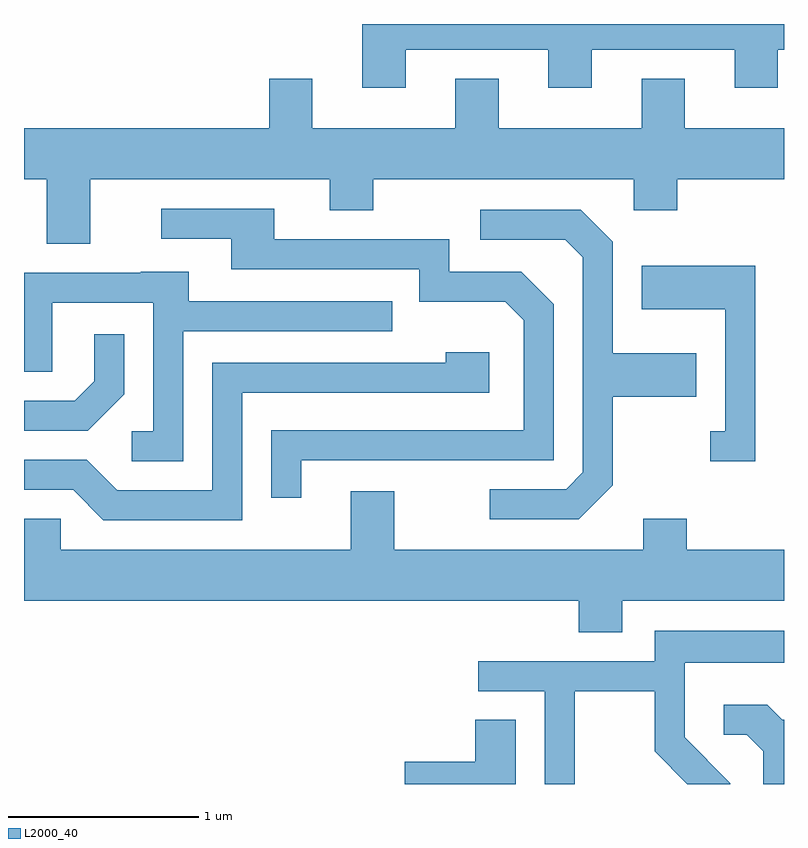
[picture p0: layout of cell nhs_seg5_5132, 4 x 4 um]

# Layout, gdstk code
import gdstk
lib = gdstk.Library(unit=1e-6, precision=1e-09)
def P(c, l, *ps):  # polygons
    for p in ps: c.add(gdstk.Polygon(p, *l))
L2000_40 = (2000, 40)

nhs_seg5_5132 = lib.new_cell('nhs_seg5_5132')
P(nhs_seg5_5132, L2000_40, [(339.619,1441.936),(340.371,1441.936),(340.371,1441.736),(340.599,1441.736),(340.599,1441.936),(341.351,1441.936),(341.351,1441.736),(341.579,1441.736),(341.579,1441.936),(341.611,1441.936),(341.611,1442.072),(339.391,1442.072),(339.391,1441.736),(339.619,1441.736)],
  [(337.959,1441.256),(339.221,1441.256),(339.221,1441.091),(339.449,1441.091),(339.449,1441.256),(340.821,1441.256),(340.821,1441.091),(341.049,1441.091),(341.049,1441.256),(341.611,1441.256),(341.611,1441.524),(341.089,1441.524),(341.089,1441.784),(340.861,1441.784),(340.861,1441.524),(340.109,1441.524),(340.109,1441.784),(339.881,1441.784),(339.881,1441.524),(339.129,1441.524),(339.129,1441.784),(338.901,1441.784),(338.901,1441.524),(337.611,1441.524),(337.611,1441.256),(337.731,1441.256),(337.731,1440.916),(337.959,1440.916)],
  [(339.069,1439.776),(340.399,1439.776),(340.399,1440.597),(340.227,1440.769),(339.849,1440.769),(339.849,1440.939),(338.929,1440.939),(338.929,1441.099),(338.333,1441.099),(338.333,1440.941),(338.701,1440.941),(338.701,1440.781),(339.691,1440.781),(339.691,1440.611),(340.144,1440.611),(340.241,1440.514),(340.241,1439.934),(338.911,1439.934),(338.911,1439.578),(339.069,1439.578)],
  [(340.709,1439.644),(340.709,1440.111),(341.149,1440.111),(341.149,1440.339),(340.709,1440.339),(340.709,1440.927),(340.542,1441.094),(340.013,1441.094),(340.013,1440.936),(340.459,1440.936),(340.551,1440.844),(340.551,1439.712),(340.464,1439.624),(340.063,1439.624),(340.063,1439.466),(340.532,1439.466)],
  [(341.459,1440.799),(340.861,1440.799),(340.861,1440.571),(341.301,1440.571),(341.301,1439.929),(341.223,1439.929),(341.223,1439.771),(341.459,1439.771)],
  [(338.449,1440.456),(339.548,1440.456),(339.548,1440.614),(338.479,1440.614),(338.479,1440.769),(338.225,1440.769),(338.225,1440.764),(337.611,1440.764),(337.611,1440.241),(337.759,1440.241),(337.759,1440.606),(338.291,1440.606),(338.291,1439.929),(338.178,1439.929),(338.178,1439.771),(338.449,1439.771)],
  [(338.139,1440.124),(338.139,1440.438),(337.981,1440.438),(337.981,1440.192),(337.879,1440.089),(337.611,1440.089),(337.611,1439.931),(337.947,1439.931)],
  [(338.759,1440.131),(340.059,1440.131),(340.059,1440.344),(339.831,1440.344),(339.831,1440.289),(338.601,1440.289),(338.601,1439.619),(338.102,1439.619),(337.942,1439.779),(337.611,1439.779),(337.611,1439.621),(337.869,1439.621),(338.029,1439.461),(338.759,1439.461)],
  [(340.759,1439.036),(341.611,1439.036),(341.611,1439.304),(341.099,1439.304),(341.099,1439.469),(340.871,1439.469),(340.871,1439.304),(339.559,1439.304),(339.559,1439.614),(339.331,1439.614),(339.331,1439.304),(337.804,1439.304),(337.804,1439.469),(337.611,1439.469),(337.611,1439.036),(340.531,1439.036),(340.531,1438.871),(340.759,1438.871)],
  [(340.509,1438.561),(340.931,1438.561),(340.931,1438.244),(341.103,1438.072),(341.329,1438.072),(341.329,1438.077),(341.089,1438.317),(341.089,1438.711),(341.611,1438.711),(341.611,1438.879),(340.931,1438.879),(340.931,1438.719),(340.003,1438.719),(340.003,1438.561),(340.351,1438.561),(340.351,1438.072),(340.509,1438.072)],
  [(341.611,1438.409),(341.602,1438.409),(341.522,1438.489),(341.293,1438.489),(341.293,1438.331),(341.414,1438.331),(341.501,1438.244),(341.501,1438.072),(341.611,1438.072)],
  [(340.199,1438.409),(339.986,1438.409),(339.986,1438.189),(339.616,1438.189),(339.616,1438.072),(340.199,1438.072)])

lib.write_gds('nhs_seg5_5132.gds')
